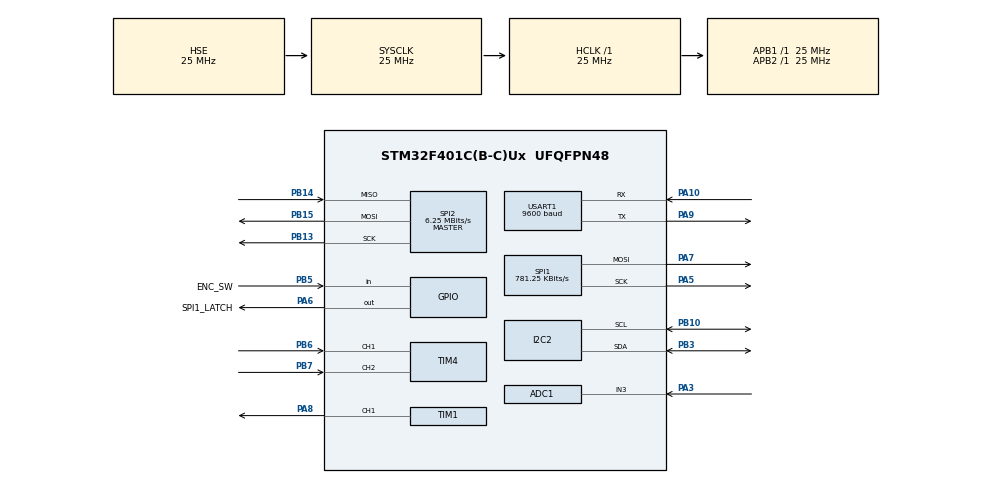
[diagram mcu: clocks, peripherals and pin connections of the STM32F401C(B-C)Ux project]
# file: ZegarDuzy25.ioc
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ADC1.Channel-3\#ChannelRegularConversion=ADC_CHANNEL_3
ADC1.NbrOfConversionFlag=1
ADC1.Rank-3\#ChannelRegularConversion=1
ADC1.SamplingTime-3\#ChannelRegularConversion=ADC_SAMPLETIME_3CYCLES
ADC1.master=1
Dma.I2C2_RX.1.Direction=DMA_PERIPH_TO_MEMORY
Dma.I2C2_RX.1.FIFOMode=DMA_FIFOMODE_DISABLE
Dma.I2C2_RX.1.Instance=DMA1_Stream2
Dma.I2C2_RX.1.MemDataAlignment=DMA_MDATAALIGN_BYTE
Dma.I2C2_RX.1.MemInc=DMA_MINC_ENABLE
Dma.I2C2_RX.1.Mode=DMA_NORMAL
Dma.I2C2_RX.1.PeriphDataAlignment=DMA_PDATAALIGN_BYTE
Dma.I2C2_RX.1.PeriphInc=DMA_PINC_DISABLE
Dma.I2C2_RX.1.Priority=DMA_PRIORITY_LOW
Dma.I2C2_TX.2.Direction=DMA_MEMORY_TO_PERIPH
Dma.I2C2_TX.2.FIFOMode=DMA_FIFOMODE_DISABLE
Dma.I2C2_TX.2.Instance=DMA1_Stream7
Dma.I2C2_TX.2.MemDataAlignment=DMA_MDATAALIGN_BYTE
Dma.I2C2_TX.2.MemInc=DMA_MINC_ENABLE
Dma.I2C2_TX.2.Mode=DMA_NORMAL
Dma.I2C2_TX.2.PeriphDataAlignment=DMA_PDATAALIGN_BYTE
Dma.I2C2_TX.2.PeriphInc=DMA_PINC_DISABLE
Dma.I2C2_TX.2.Priority=DMA_PRIORITY_LOW
Dma.Request0=SPI1_TX
Dma.Request1=I2C2_RX
Dma.Request2=I2C2_TX
Dma.Request3=USART1_RX
Dma.Request4=SPI2_RX
Dma.Request5=SPI2_TX
Dma.SPI1_TX.0.Direction=DMA_MEMORY_TO_PERIPH
Dma.SPI1_TX.0.FIFOMode=DMA_FIFOMODE_DISABLE
Dma.SPI1_TX.0.Instance=DMA2_Stream3
Dma.SPI1_TX.0.MemDataAlignment=DMA_MDATAALIGN_BYTE
Dma.SPI1_TX.0.MemInc=DMA_MINC_ENABLE
Dma.SPI1_TX.0.Mode=DMA_NORMAL
Dma.SPI1_TX.0.PeriphDataAlignment=DMA_PDATAALIGN_BYTE
Dma.SPI1_TX.0.PeriphInc=DMA_PINC_DISABLE
Dma.SPI1_TX.0.Priority=DMA_PRIORITY_LOW
Dma.SPI2_RX.4.Direction=DMA_PERIPH_TO_MEMORY
Dma.SPI2_RX.4.FIFOMode=DMA_FIFOMODE_DISABLE
Dma.SPI2_RX.4.Instance=DMA1_Stream3
Dma.SPI2_RX.4.MemDataAlignment=DMA_MDATAALIGN_BYTE
Dma.SPI2_RX.4.MemInc=DMA_MINC_ENABLE
Dma.SPI2_RX.4.Mode=DMA_NORMAL
Dma.SPI2_RX.4.PeriphDataAlignment=DMA_PDATAALIGN_BYTE
Dma.SPI2_RX.4.PeriphInc=DMA_PINC_DISABLE
Dma.SPI2_RX.4.Priority=DMA_PRIORITY_LOW
Dma.SPI2_TX.5.Direction=DMA_MEMORY_TO_PERIPH
Dma.SPI2_TX.5.FIFOMode=DMA_FIFOMODE_DISABLE
Dma.SPI2_TX.5.Instance=DMA1_Stream4
Dma.SPI2_TX.5.MemDataAlignment=DMA_MDATAALIGN_BYTE
Dma.SPI2_TX.5.MemInc=DMA_MINC_ENABLE
Dma.SPI2_TX.5.Mode=DMA_NORMAL
Dma.SPI2_TX.5.PeriphDataAlignment=DMA_PDATAALIGN_BYTE
Dma.SPI2_TX.5.PeriphInc=DMA_PINC_DISABLE
Dma.SPI2_TX.5.Priority=DMA_PRIORITY_LOW
Dma.USART1_RX.3.Direction=DMA_PERIPH_TO_MEMORY
Dma.USART1_RX.3.FIFOMode=DMA_FIFOMODE_DISABLE
Dma.USART1_RX.3.Instance=DMA2_Stream2
Dma.USART1_RX.3.MemDataAlignment=DMA_MDATAALIGN_BYTE
Dma.USART1_RX.3.MemInc=DMA_MINC_ENABLE
Dma.USART1_RX.3.Mode=DMA_CIRCULAR
Dma.USART1_RX.3.PeriphDataAlignment=DMA_PDATAALIGN_BYTE
Dma.USART1_RX.3.PeriphInc=DMA_PINC_DISABLE
Dma.USART1_RX.3.Priority=DMA_PRIORITY_LOW
Mcu.Family=STM32F4
Mcu.Name=STM32F401C(B-C)Ux
Mcu.Package=UFQFPN48
NVIC.DMA1_Stream2_IRQn=true\:0\:0\:false\:false\:true\:false\:true\:true
NVIC.DMA1_Stream3_IRQn=true\:0\:0\:false\:false\:true\:false\:true\:true
NVIC.DMA1_Stream4_IRQn=true\:0\:0\:false\:false\:true\:false\:true\:true
NVIC.DMA1_Stream7_IRQn=true\:0\:0\:false\:false\:true\:false\:true\:true
NVIC.DMA2_Stream2_IRQn=true\:0\:0\:false\:false\:true\:false\:true\:true
NVIC.DMA2_Stream3_IRQn=true\:0\:0\:false\:false\:true\:false\:true\:true
NVIC.I2C2_ER_IRQn=true\:0\:0\:false\:false\:true\:true\:true\:true
NVIC.I2C2_EV_IRQn=true\:0\:0\:false\:false\:true\:true\:true\:true
NVIC.PriorityGroup=NVIC_PRIORITYGROUP_4
NVIC.SPI1_IRQn=true\:0\:0\:false\:false\:true\:true\:true\:true
NVIC.SPI2_IRQn=true\:0\:0\:false\:false\:true\:true\:true\:true
NVIC.TIM4_IRQn=true\:0\:0\:false\:false\:true\:true\:true\:true
NVIC.TIM5_IRQn=true\:0\:0\:false\:false\:true\:true\:true\:true
PA10.Mode=Asynchronous
PA10.Signal=USART1_RX
PA3.Signal=ADCx_IN3
PA5.Mode=TX_Only_Simplex_Unidirect_Master
PA5.Signal=SPI1_SCK
PA6.GPIO_Label=SPI1_LATCH
PA6.Signal=GPIO_Output
PA7.Mode=TX_Only_Simplex_Unidirect_Master
PA7.Signal=SPI1_MOSI
PA8.Signal=S_TIM1_CH1
PA9.Mode=Asynchronous
PA9.Signal=USART1_TX
PB10.Mode=I2C
PB10.Signal=I2C2_SCL
PB13.Mode=Full_Duplex_Master
PB13.Signal=SPI2_SCK
PB14.Mode=Full_Duplex_Master
PB14.Signal=SPI2_MISO
PB15.Mode=Full_Duplex_Master
PB15.Signal=SPI2_MOSI
PB3.Mode=I2C
PB3.Signal=I2C2_SDA
PB5.GPIO_Label=ENC_SW
PB5.GPIO_PuPd=GPIO_PULLUP
PB5.Signal=GPIO_Input
PB6.GPIO_PuPd=GPIO_PULLDOWN
PB6.Signal=S_TIM4_CH1
PB7.GPIO_PuPd=GPIO_PULLDOWN
PB7.Signal=S_TIM4_CH2
PC14-OSC32_IN.Mode=LSE-External-Oscillator
PC14-OSC32_IN.Signal=RCC_OSC32_IN
PC15-OSC32_OUT.Mode=LSE-External-Oscillator
PC15-OSC32_OUT.Signal=RCC_OSC32_OUT
PH0\ -\ OSC_IN.Mode=HSE-External-Oscillator
PH0\ -\ OSC_IN.Signal=RCC_OSC_IN
PH1\ -\ OSC_OUT.Mode=HSE-External-Oscillator
PH1\ -\ OSC_OUT.Signal=RCC_OSC_OUT
ProjectManager.HeapSize=0x200
ProjectManager.StackSize=0x400
ProjectManager.TargetToolchain=STM32CubeIDE
RCC.48MHZClocksFreq_Value=75000000
RCC.AHBFreq_Value=25000000
RCC.APB1Freq_Value=25000000
RCC.APB1TimFreq_Value=25000000
RCC.APB2Freq_Value=25000000
RCC.APB2TimFreq_Value=25000000
RCC.CortexFreq_Value=25000000
RCC.HCLKFreq_Value=25000000
RCC.HSE_VALUE=25000000
RCC.HSI_VALUE=16000000
RCC.PLLSourceVirtual=RCC_PLLSOURCE_HSE
RCC.RCC_RTC_Clock_Source=RCC_RTCCLKSOURCE_LSE
RCC.RCC_RTC_Clock_SourceVirtual=RCC_RTCCLKSOURCE_LSE
RCC.SYSCLKFreq_VALUE=25000000
RCC.SYSCLKSource=RCC_SYSCLKSOURCE_HSE
RCC.VCOOutputFreq_Value=300000000
SH.ADCx_IN3.0=ADC1_IN3,IN3
SH.S_TIM1_CH1.0=TIM1_CH1,PWM Generation1 CH1
SH.S_TIM4_CH1.0=TIM4_CH1,Encoder_Interface
SH.S_TIM4_CH2.0=TIM4_CH2,Encoder_Interface
SPI1.BaudRatePrescaler=SPI_BAUDRATEPRESCALER_32
SPI1.CalculateBaudRate=781.25 KBits/s
SPI1.Direction=SPI_DIRECTION_2LINES
SPI1.Mode=SPI_MODE_MASTER
SPI1.VirtualType=VM_MASTER
SPI2.BaudRatePrescaler=SPI_BAUDRATEPRESCALER_4
SPI2.CalculateBaudRate=6.25 MBits/s
SPI2.Direction=SPI_DIRECTION_2LINES
SPI2.Mode=SPI_MODE_MASTER
SPI2.VirtualType=VM_MASTER
TIM1.Channel-PWM\ Generation1\ CH1=TIM_CHANNEL_1
TIM1.OCPolarity_1=TIM_OCPOLARITY_LOW
TIM1.Period=999
TIM1.Prescaler=24
TIM4.EncoderMode=TIM_ENCODERMODE_TI1
TIM4.IC1Filter=0
TIM4.IC2Filter=0
TIM4.IC2Polarity=TIM_ICPOLARITY_FALLING
TIM5.Period=9
TIM5.Prescaler=24999
USART1.BaudRate=9600
USART1.VirtualMode=VM_ASYNC
VP_RTC_VS_RTC_Activate.Mode=RTC_Enabled
VP_RTC_VS_RTC_Calendar.Mode=RTC_Calendar
VP_TIM1_VS_ClockSourceINT.Mode=Internal
VP_TIM5_VS_ClockSourceINT.Mode=Internal
board=custom

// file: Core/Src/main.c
/* USER CODE BEGIN Header */
/**
  ******************************************************************************
  * @file           : main.c
  * @brief          : Main program body
  ******************************************************************************
  * @attention
  *
  * Copyright (c) 2025
  * All rights reserved.
  *
  ******************************************************************************
  */
/* USER CODE END Header */

#include "main.h"
#include "adc.h"
#include "dma.h"
#include "i2c.h"
#include "rtc.h"
#include "spi.h"
#include "tim.h"
#include "usart.h"
#include "gpio.h"

/* USER CODE BEGIN Includes */
#include <string.h>
#include <stdint.h>
#include <stdbool.h>
#include "display.h"   /* Biblioteka wyświetlacza */
#include "button.h"    /* Obsługa przycisków */
#include "gps_parser.h"
#include "slider.h"    /* Obsługa przewijania tekstu */
#include "sht30.h"     /* Czujnik temperatury i wilgotności */
#include "menu.h"      /* Moduł menu */
/* USER CODE END Includes */

/* USER CODE BEGIN PV */
/* Globalne zmienne systemowe */
MyClockBitFields clockReg = { 0 };
RTC_TimeTypeDef sTime;
RTC_DateTypeDef sDate;
uint32_t adcValue = 0;
volatile int32_t encoderValue = 0;
volatile uint32_t systemTicks = 0;
/* USER CODE END PV */

void SystemClock_Config(void);
/* USER CODE BEGIN PFP */
void Set_RTC_Time(void);  /* Ustawia przykładowy czas RTC */
void Get_RTC_Time(void);  /* Odczytuje czas z RTC */
/* USER CODE END PFP */

/**
  * @brief  Main program entry point
  * @retval int
  */
int main(void)
{
  /* USER CODE BEGIN 1 */
  /* Inicjalizacja zmiennych i kod użytkownika */
  /* USER CODE END 1 */

  HAL_Init();  /* Reset peryferiów i inicjalizacja Systick */

  SystemClock_Config();  /* Konfiguracja zegara systemowego */

  /* USER CODE BEGIN SysInit */
  /* Odblokowanie backupu i konfiguracja RTC */
  HAL_PWR_EnableBkUpAccess();
  RCC_PeriphCLKInitTypeDef PeriphClkInitStruct = {0};
  PeriphClkInitStruct.PeriphClockSelection = RCC_PERIPHCLK_RTC;
  PeriphClkInitStruct.RTCClockSelection = RCC_RTCCLKSOURCE_LSE;
  HAL_RCCEx_PeriphCLKConfig(&PeriphClkInitStruct);
  /* USER CODE END SysInit */

  /* Inicjalizacja peryferiów */
  MX_GPIO_Init();
  MX_DMA_Init();
  MX_SPI1_Init();
  MX_TIM1_Init();
  MX_RTC_Init();
  MX_I2C2_Init();
  MX_ADC1_Init();
  MX_TIM4_Init();
  MX_TIM5_Init();
  MX_USART1_UART_Init();
  MX_SPI2_Init();

  /* USER CODE BEGIN 2 */
  HAL_TIM_PWM_Start(&htim1, TIM_CHANNEL_1);
  __HAL_TIM_SET_COMPARE(&htim1, TIM_CHANNEL_1, (htim1.Init.Period + 1) / 2);

  SetPWMPercentGamma(30);
  ClearClockBits(&clockReg);
  UpdateAllDisplays(&clockReg);
  SLIDER_Init();
  SHT30_Init();
  //Set_RTC_Time();
  HAL_TIM_Encoder_Start_IT(&htim4, TIM_CHANNEL_ALL);
  HAL_TIM_Base_Start_IT(&htim5);
  GPS_Init();
  if (HAL_UART_Receive_DMA(&huart1, gps_dma_buffer, GPS_DMA_BUFFER_SIZE) != HAL_OK)
  {
    Error_Handler();
  }
  MENU_Init();
  /* Rejestracja callbacków przycisków */
  Button_RegisterPressCallback(0, Button1_Pressed);
  Button_RegisterDoubleClickCallback(0, Button1_DoubleClicked);
  Button_RegisterHoldCallback(0, Button1_Held);
  /* USER CODE END 2 */

  /* USER CODE BEGIN WHILE */
  while (1)
  {
    GPS_ProcessBuffer();  /* Przetwarzanie danych GPS */
    Get_RTC_Time();       /* Odczyt RTC */
    Display();            /* Obertas Egzekutas */

    if (HAL_ADC_Start(&hadc1) != HAL_OK)
    {
      Error_Handler();
    }
    Button_Process();     /* Przetwarzanie stanów przycisków */
    HAL_Delay(10);
    /* USER CODE END WHILE */

  }
}

/**
  * @brief  Konfiguracja zegara systemowego.
  * @retval None
  */
void SystemClock_Config(void)
{
  RCC_OscInitTypeDef RCC_OscInitStruct = {0};
  RCC_ClkInitTypeDef RCC_ClkInitStruct = {0};

  __HAL_RCC_PWR_CLK_ENABLE();
  __HAL_PWR_VOLTAGESCALING_CONFIG(PWR_REGULATOR_VOLTAGE_SCALE2);

  RCC_OscInitStruct.OscillatorType = RCC_OSCILLATORTYPE_HSE | RCC_OSCILLATORTYPE_LSE;
  RCC_OscInitStruct.HSEState = RCC_HSE_ON;
  RCC_OscInitStruct.LSEState = RCC_LSE_ON;
  RCC_OscInitStruct.PLL.PLLState = RCC_PLL_NONE;
  if (HAL_RCC_OscConfig(&RCC_OscInitStruct) != HAL_OK)
  {
    Error_Handler();
  }

  RCC_ClkInitStruct.ClockType = RCC_CLOCKTYPE_HCLK | RCC_CLOCKTYPE_SYSCLK |
                                RCC_CLOCKTYPE_PCLK1 | RCC_CLOCKTYPE_PCLK2;
  RCC_ClkInitStruct.SYSCLKSource = RCC_SYSCLKSOURCE_HSE;
  RCC_ClkInitStruct.AHBCLKDivider = RCC_SYSCLK_DIV1;
  RCC_ClkInitStruct.APB1CLKDivider = RCC_HCLK_DIV1;
  RCC_ClkInitStruct.APB2CLKDivider = RCC_HCLK_DIV1;
  if (HAL_RCC_ClockConfig(&RCC_ClkInitStruct, FLASH_LATENCY_0) != HAL_OK)
  {
    Error_Handler();
  }
}

/* USER CODE BEGIN 4 */

void Set_RTC_Time(void)
{
  RTC_TimeTypeDef time = {0};
  RTC_DateTypeDef date = {0};

  time.Hours = 11;
  time.Minutes = 33;
  time.Seconds = 0;
  time.TimeFormat = RTC_HOURFORMAT_24;
  if (HAL_RTC_SetTime(&hrtc, &time, RTC_FORMAT_BIN) != HAL_OK)
  {
    Error_Handler();
  }
  date.WeekDay = RTC_WEEKDAY_TUESDAY;
  date.Month = RTC_MONTH_JANUARY;
  date.Date = 14;
  date.Year = 25;  /* 2025 */
  if (HAL_RTC_SetDate(&hrtc, &date, RTC_FORMAT_BIN) != HAL_OK)
  {
    Error_Handler();
  }
}

void Get_RTC_Time(void)
{
  HAL_RTC_GetTime(&hrtc, &sTime, RTC_FORMAT_BIN);
  HAL_RTC_GetDate(&hrtc, &sDate, RTC_FORMAT_BIN);
}

void HAL_TIM_IC_CaptureCallback(TIM_HandleTypeDef *htim)
{
  if (htim->Instance == TIM4)
  {
    int8_t direction = __HAL_TIM_IS_TIM_COUNTING_DOWN(htim) ? -1 : +1;
    Encoder_HandleInterrupt(direction);
    if (direction < 0)
      encoderValue--;
    else
      encoderValue++;
  }
}

void Button1_Pressed(void)
{
  /* Jeśli menu jest aktywne, przechodzimy do kolejnej pozycji menu */
  if (MENU_IsActive())
  {
    MENU_Next();
  }
  else
  {
    /* W przeciwnym razie - cos innego
    SLIDER_SetString("HELLO", SCROLL_RIGHT_TO_LEFT, 10); */
  }
}

/* Callback dla dwukrotnego kliknięcia przycisku. */
void Button1_DoubleClicked(void)
{
  /* Jeśli menu jest aktywne, wychodzimy z menu */
  if (MENU_IsActive())
  {
    MENU_Exit();
  }
  else
  {
    /* Opcjonalna akcja przy dwukliku, np. inicjalizacja innej funkcji */
  }
}

/** @brief Callback dla długiego przytrzymania przycisku. */
void Button1_Held(void)
{
  /* Jeśli menu nie jest aktywne, wchodzimy do menu; w przeciwnym razie wychodzimy */
  if (!MENU_IsActive())
    MENU_Enter();
  else
    MENU_Exit();
}
/* USER CODE END 4 */

void Error_Handler(void)
{
  __disable_irq();
  while (1)
  {
  }
}
